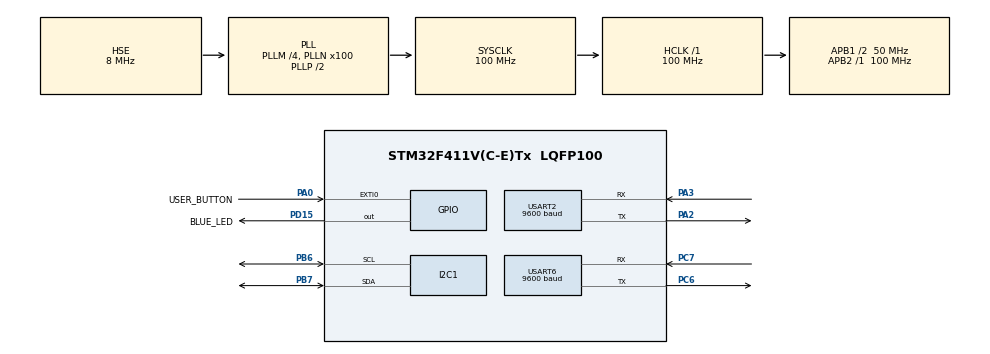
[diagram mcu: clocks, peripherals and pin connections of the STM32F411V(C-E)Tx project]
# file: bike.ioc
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Mcu.Family=STM32F4
Mcu.Name=STM32F411V(C-E)Tx
Mcu.Package=LQFP100
NVIC.EXTI0_IRQn=true\:2\:0\:true\:false\:true\:true\:true
NVIC.I2C1_ER_IRQn=true\:0\:0\:false\:false\:true\:true\:true
NVIC.I2C1_EV_IRQn=true\:0\:0\:false\:false\:true\:true\:true
NVIC.PriorityGroup=NVIC_PRIORITYGROUP_4
NVIC.TIM1_TRG_COM_TIM11_IRQn=true\:1\:0\:true\:false\:true\:true\:true
NVIC.TIM1_UP_TIM10_IRQn=true\:3\:0\:true\:false\:true\:true\:true
NVIC.USART2_IRQn=true\:2\:0\:true\:false\:true\:true\:true
NVIC.USART6_IRQn=true\:1\:0\:true\:false\:true\:true\:true
PA0-WKUP.GPIO_Label=USER_BUTTON
PA0-WKUP.GPIO_ModeDefaultEXTI=GPIO_MODE_IT_RISING
PA0-WKUP.Signal=GPXTI0
PA2.Mode=Asynchronous
PA2.Signal=USART2_TX
PA3.Mode=Asynchronous
PA3.Signal=USART2_RX
PB6.Mode=I2C
PB6.Signal=I2C1_SCL
PB7.Mode=I2C
PB7.Signal=I2C1_SDA
PC6.Mode=Asynchronous
PC6.Signal=USART6_TX
PC7.Mode=Asynchronous
PC7.Signal=USART6_RX
PD15.GPIO_Label=BLUE_LED
PD15.PinState=GPIO_PIN_SET
PD15.Signal=GPIO_Output
PH0\ -\ OSC_IN.Mode=HSE-External-Oscillator
PH0\ -\ OSC_IN.Signal=RCC_OSC_IN
PH1\ -\ OSC_OUT.Mode=HSE-External-Oscillator
PH1\ -\ OSC_OUT.Signal=RCC_OSC_OUT
ProjectManager.HeapSize=0x200
ProjectManager.StackSize=0x400
ProjectManager.TargetToolchain=SW4STM32
RCC.48MHZClocksFreq_Value=50000000
RCC.AHBFreq_Value=100000000
RCC.APB1CLKDivider=RCC_HCLK_DIV2
RCC.APB1Freq_Value=50000000
RCC.APB1TimFreq_Value=100000000
RCC.APB2Freq_Value=100000000
RCC.APB2TimFreq_Value=100000000
RCC.CortexFreq_Value=100000000
RCC.HCLKFreq_Value=100000000
RCC.HSE_VALUE=8000000
RCC.HSI_VALUE=16000000
RCC.LSE_VALUE=32768
RCC.PLLM=4
RCC.PLLN=100
RCC.PLLSourceVirtual=RCC_PLLSOURCE_HSE
RCC.SYSCLKFreq_VALUE=100000000
RCC.SYSCLKSource=RCC_SYSCLKSOURCE_PLLCLK
RCC.VCOOutputFreq_Value=200000000
TIM10.Period=4999
TIM10.Prescaler=9999
TIM11.Period=6000
TIM11.Prescaler=9999
USART2.BaudRate=9600
USART2.VirtualMode=VM_ASYNC
USART6.BaudRate=9600
USART6.VirtualMode=VM_ASYNC
VP_RTC_VS_RTC_Activate.Mode=RTC_Enabled
VP_TIM10_VS_ClockSourceINT.Mode=Enable_Timer
VP_TIM11_VS_ClockSourceINT.Mode=Enable_Timer
board=custom

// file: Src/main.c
/* USER CODE BEGIN Header */
/**
 ******************************************************************************
 * @file           : main.c
 * @brief          : Main program body
 ******************************************************************************
 * @attention
 *
 * <h2><center>&copy; Copyright (c) 2020 STMicroelectronics.
 * All rights reserved.</center></h2>
 *
 * This software component is licensed by ST under BSD 3-Clause license,
 * the "License"; You may not use this file except in compliance with the
 * License. You may obtain a copy of the License at:
 *                        opensource.org/licenses/BSD-3-Clause
 *
 ******************************************************************************
 */

#define d2r (M_PI / 180.0)
/* USER CODE END Header */

#include "main.h"

/* USER CODE BEGIN Includes */
#include "DEV_Config.h"
#include "L76X.h"
#include "bme280.h"

/* USER CODE END Includes */

/* USER CODE BEGIN PTD */
//When USEIIC is 1 use I2C interface, When it is 0,use SPI interface
/* USER CODE END PTD */

I2C_HandleTypeDef hi2c1;

RTC_HandleTypeDef hrtc;

TIM_HandleTypeDef htim10;
TIM_HandleTypeDef htim11;

UART_HandleTypeDef huart2;
UART_HandleTypeDef huart6;

/* USER CODE BEGIN PV */
uint8_t cnt = 0;
double temperature = 0.0;
double distance = 0.0;
double presure = 0.0;
double humidity = 0.0;
double longitude = 0.0;
double latitude = 0.0;
double current_speed = 0.0;
double avg_speed = 0.0;
double total_distance = 0.0;
uint8_t rx_buffer[10];
uint8_t Data[40];
static RTC_TimeTypeDef time;
static RTC_DateTypeDef date;

/* USER CODE END PV */

void SystemClock_Config(void);
static void MX_GPIO_Init(void);
static void MX_USART2_UART_Init(void);
static void MX_I2C1_Init(void);
static void MX_RTC_Init(void);
static void MX_TIM10_Init(void);
static void MX_USART6_UART_Init(void);
static void MX_TIM11_Init(void);
/* USER CODE BEGIN PFP */
GNRMC GPS;
BME280_ReadedData_t BME280_Data;
/* USER CODE END PFP */

/* USER CODE BEGIN 0 */

double calculate_distance(double lat1, double long1, double lat2, double long2) {
	double dlong = (long2 - long1) * d2r;
	double dlat = (lat2 - lat1) * d2r;
	double a = pow(sin(dlat / 2.0), 2)
			+ cos(lat1 * d2r) * cos(lat2 * d2r) * pow(sin(dlong / 2.0), 2);
	double c = 2 * atan2(sqrt(a), sqrt(1 - a));
	double d = 6367 * c;

	return d;
}

void HAL_GPIO_EXTI_Callback(uint16_t GPIO_Pin){
	if(GPIO_Pin == USER_BUTTON_Pin){
		total_distance = 0;
		distance = 0;
		avg_speed = 0;
		cnt = 0;
		longitude = GPS.Lon;
		latitude = GPS.Lat;
		time.Hours = 0;
		time.Minutes = 0;
		time.Seconds = 0;
		HAL_RTC_SetDate(&hrtc, &date,RTC_FORMAT_BIN);
		HAL_RTC_SetTime(&hrtc,&time,RTC_FORMAT_BIN);
	}
}

void HAL_TIM_PeriodElapsedCallback(TIM_HandleTypeDef *htim) {
	if(htim->Instance == TIM10){
		GPS = L76X_Gat_GNRMC();

		distance = calculate_distance(latitude, longitude, GPS.Lat, GPS.Lon);
		if(distance < 0.01){
			distance = 0.0;
		}
		if (distance > 20) {
			distance = 0;
		}
		current_speed = (distance) * 3.6; // speed in km/s
		total_distance = total_distance + distance;

		longitude = GPS.Lon;
		latitude = GPS.Lat;

		temperature = BME280_ReadTemperature();
		presure = (BME280_ReadPressure()/1000);
		humidity = BME280_ReadHumidity();

		HAL_RTC_GetTime(&hrtc, &time, RTC_FORMAT_BIN);
		HAL_RTC_GetDate(&hrtc, &date, RTC_FORMAT_BIN);
		double total_time = (time.Hours * 3600) + (time.Minutes * 60)
				+ time.Seconds;
		avg_speed = (total_distance / total_time) * 3.6;
		if(avg_speed < 0.2){
			avg_speed = 0;
		}
	}

	if(htim->Instance == TIM11){
		uint8_t data[50] = "";
		uint16_t size = 0;
		switch (cnt) {
			case 0: {
				size = sprintf(data, "Temperature: %.2f\n\r", temperature);
				break;
			}
			case 1: {
				size = sprintf(data, "Pressure: %.2f\n\r", presure);
				break;
			}
			case 2: {
				size = sprintf(data, "Humidity: %.2f\n\r", humidity);
				break;
			}
			case 3: {
				size = sprintf(data, "Speed: %.2f\n\r", current_speed);
				break;
			}
			case 4: {
				size = sprintf(data, "AvgSpeed: %.2f\n\r", avg_speed);
				break;
			}
			case 5: {
				size = sprintf(data, "Distance: %.2f\n\r", total_distance);
				break;
			}
		}

		HAL_UART_Transmit_IT(&huart6, data, size);
		++cnt;
		if (cnt > 5) {
			cnt = 0;
		}

		HAL_GPIO_TogglePin(BLUE_LED_GPIO_Port, BLUE_LED_Pin);
	}
}

/* USER CODE END 0 */

int main(void)
{

  /* MCU Configuration--------------------------------------------------------*/

  /* Reset of all peripherals, Initializes the Flash interface and the Systick. */
  HAL_Init();

  /* Configure the system clock */
  SystemClock_Config();

  /* Initialize all configured peripherals */
  MX_GPIO_Init();
  MX_USART2_UART_Init();
  MX_I2C1_Init();
  MX_RTC_Init();
  MX_TIM10_Init();
  MX_USART6_UART_Init();
  MX_TIM11_Init();
  /* USER CODE BEGIN 2 */
	MX_GPIO_Init();
	//MX_USART1_UART_Init();
	HAL_TIM_Base_Start_IT(&htim10);
	HAL_TIM_Base_Start_IT(&htim11);
	MX_USART2_UART_Init();
	/* USER CODE BEGIN 2 */

	DEV_Uart_SendByte('1');
	DEV_Delay_ms(100);
	DEV_Set_Baudrate(9600);
	DEV_Delay_ms(100);

	L76X_Send_Command(SET_NMEA_BAUDRATE_115200);
	DEV_Delay_ms(100);

	DEV_Delay_ms(100);
	DEV_Set_Baudrate(115200);
	DEV_Delay_ms(100);

	L76X_Send_Command(SET_NORMAL_MODE);
	L76X_Send_Command(SET_POS_FIX_400MS);

	L76X_Exit_BackupMode();

	BME280_Initial(BME280_STANDBY_MS_0_5, BME280_FILTER_X4,
			BME280_TEMP_OVERSAMPLING_X4, BME280_PRES_OVERSAMPLING_X2,
			BME280_HUM_OVERSAMPLING_X1, BME280_MODE_NORMAL);
	GPS = L76X_Gat_GNRMC();
	longitude = GPS.Lon;
	latitude = GPS.Lat;

  /* USER CODE END 2 */

  /* Infinite loop */
	while (1) {

	}
}

void SystemClock_Config(void)
{
  RCC_OscInitTypeDef RCC_OscInitStruct = {0};
  RCC_ClkInitTypeDef RCC_ClkInitStruct = {0};
  RCC_PeriphCLKInitTypeDef PeriphClkInitStruct = {0};

  /** Configure the main internal regulator output voltage
  */
  __HAL_RCC_PWR_CLK_ENABLE();
  __HAL_PWR_VOLTAGESCALING_CONFIG(PWR_REGULATOR_VOLTAGE_SCALE1);
  /** Initializes the CPU, AHB and APB busses clocks
  */
  RCC_OscInitStruct.OscillatorType = RCC_OSCILLATORTYPE_LSI|RCC_OSCILLATORTYPE_HSE;
  RCC_OscInitStruct.HSEState = RCC_HSE_ON;
  RCC_OscInitStruct.LSIState = RCC_LSI_ON;
  RCC_OscInitStruct.PLL.PLLState = RCC_PLL_ON;
  RCC_OscInitStruct.PLL.PLLSource = RCC_PLLSOURCE_HSE;
  RCC_OscInitStruct.PLL.PLLM = 4;
  RCC_OscInitStruct.PLL.PLLN = 100;
  RCC_OscInitStruct.PLL.PLLP = RCC_PLLP_DIV2;
  RCC_OscInitStruct.PLL.PLLQ = 4;
  if (HAL_RCC_OscConfig(&RCC_OscInitStruct) != HAL_OK)
  {
    Error_Handler();
  }
  /** Initializes the CPU, AHB and APB busses clocks
  */
  RCC_ClkInitStruct.ClockType = RCC_CLOCKTYPE_HCLK|RCC_CLOCKTYPE_SYSCLK
                              |RCC_CLOCKTYPE_PCLK1|RCC_CLOCKTYPE_PCLK2;
  RCC_ClkInitStruct.SYSCLKSource = RCC_SYSCLKSOURCE_PLLCLK;
  RCC_ClkInitStruct.AHBCLKDivider = RCC_SYSCLK_DIV1;
  RCC_ClkInitStruct.APB1CLKDivider = RCC_HCLK_DIV2;
  RCC_ClkInitStruct.APB2CLKDivider = RCC_HCLK_DIV1;

  if (HAL_RCC_ClockConfig(&RCC_ClkInitStruct, FLASH_LATENCY_3) != HAL_OK)
  {
    Error_Handler();
  }
  PeriphClkInitStruct.PeriphClockSelection = RCC_PERIPHCLK_RTC;
  PeriphClkInitStruct.RTCClockSelection = RCC_RTCCLKSOURCE_LSI;
  if (HAL_RCCEx_PeriphCLKConfig(&PeriphClkInitStruct) != HAL_OK)
  {
    Error_Handler();
  }
}

static void MX_I2C1_Init(void)
{

  hi2c1.Instance = I2C1;
  hi2c1.Init.ClockSpeed = 100000;
  hi2c1.Init.DutyCycle = I2C_DUTYCYCLE_2;
  hi2c1.Init.OwnAddress1 = 0;
  hi2c1.Init.AddressingMode = I2C_ADDRESSINGMODE_7BIT;
  hi2c1.Init.DualAddressMode = I2C_DUALADDRESS_DISABLE;
  hi2c1.Init.OwnAddress2 = 0;
  hi2c1.Init.GeneralCallMode = I2C_GENERALCALL_DISABLE;
  hi2c1.Init.NoStretchMode = I2C_NOSTRETCH_DISABLE;
  if (HAL_I2C_Init(&hi2c1) != HAL_OK)
  {
    Error_Handler();
  }

}

static void MX_RTC_Init(void)
{

  /** Initialize RTC Only
  */
  hrtc.Instance = RTC;
  hrtc.Init.HourFormat = RTC_HOURFORMAT_24;
  hrtc.Init.AsynchPrediv = 127;
  hrtc.Init.SynchPrediv = 255;
  hrtc.Init.OutPut = RTC_OUTPUT_DISABLE;
  hrtc.Init.OutPutPolarity = RTC_OUTPUT_POLARITY_HIGH;
  hrtc.Init.OutPutType = RTC_OUTPUT_TYPE_OPENDRAIN;
  if (HAL_RTC_Init(&hrtc) != HAL_OK)
  {
    Error_Handler();
  }

}

static void MX_TIM10_Init(void)
{

  htim10.Instance = TIM10;
  htim10.Init.Prescaler = 9999;
  htim10.Init.CounterMode = TIM_COUNTERMODE_UP;
  htim10.Init.Period = 4999;
  htim10.Init.ClockDivision = TIM_CLOCKDIVISION_DIV1;
  htim10.Init.AutoReloadPreload = TIM_AUTORELOAD_PRELOAD_DISABLE;
  if (HAL_TIM_Base_Init(&htim10) != HAL_OK)
  {
    Error_Handler();
  }

}

static void MX_TIM11_Init(void)
{

  htim11.Instance = TIM11;
  htim11.Init.Prescaler = 9999;
  htim11.Init.CounterMode = TIM_COUNTERMODE_UP;
  htim11.Init.Period = 6000;
  htim11.Init.ClockDivision = TIM_CLOCKDIVISION_DIV1;
  htim11.Init.AutoReloadPreload = TIM_AUTORELOAD_PRELOAD_DISABLE;
  if (HAL_TIM_Base_Init(&htim11) != HAL_OK)
  {
    Error_Handler();
  }

}

static void MX_USART2_UART_Init(void)
{

  huart2.Instance = USART2;
  huart2.Init.BaudRate = 9600;
  huart2.Init.WordLength = UART_WORDLENGTH_8B;
  huart2.Init.StopBits = UART_STOPBITS_1;
  huart2.Init.Parity = UART_PARITY_NONE;
  huart2.Init.Mode = UART_MODE_TX_RX;
  huart2.Init.HwFlowCtl = UART_HWCONTROL_NONE;
  huart2.Init.OverSampling = UART_OVERSAMPLING_16;
  if (HAL_UART_Init(&huart2) != HAL_OK)
  {
    Error_Handler();
  }

}

static void MX_USART6_UART_Init(void)
{

  huart6.Instance = USART6;
  huart6.Init.BaudRate = 9600;
  huart6.Init.WordLength = UART_WORDLENGTH_8B;
  huart6.Init.StopBits = UART_STOPBITS_1;
  huart6.Init.Parity = UART_PARITY_NONE;
  huart6.Init.Mode = UART_MODE_TX_RX;
  huart6.Init.HwFlowCtl = UART_HWCONTROL_NONE;
  huart6.Init.OverSampling = UART_OVERSAMPLING_16;
  if (HAL_UART_Init(&huart6) != HAL_OK)
  {
    Error_Handler();
  }

}

static void MX_GPIO_Init(void)
{
  GPIO_InitTypeDef GPIO_InitStruct = {0};

  /* GPIO Ports Clock Enable */
  __HAL_RCC_GPIOH_CLK_ENABLE();
  __HAL_RCC_GPIOA_CLK_ENABLE();
  __HAL_RCC_GPIOD_CLK_ENABLE();
  __HAL_RCC_GPIOC_CLK_ENABLE();
  __HAL_RCC_GPIOB_CLK_ENABLE();

  /*Configure GPIO pin Output Level */
  HAL_GPIO_WritePin(BLUE_LED_GPIO_Port, BLUE_LED_Pin, GPIO_PIN_SET);

  /*Configure GPIO pin : USER_BUTTON_Pin */
  GPIO_InitStruct.Pin = USER_BUTTON_Pin;
  GPIO_InitStruct.Mode = GPIO_MODE_IT_RISING;
  GPIO_InitStruct.Pull = GPIO_NOPULL;
  HAL_GPIO_Init(USER_BUTTON_GPIO_Port, &GPIO_InitStruct);

  /*Configure GPIO pin : BLUE_LED_Pin */
  GPIO_InitStruct.Pin = BLUE_LED_Pin;
  GPIO_InitStruct.Mode = GPIO_MODE_OUTPUT_PP;
  GPIO_InitStruct.Pull = GPIO_NOPULL;
  GPIO_InitStruct.Speed = GPIO_SPEED_FREQ_LOW;
  HAL_GPIO_Init(BLUE_LED_GPIO_Port, &GPIO_InitStruct);

  /* EXTI interrupt init*/
  HAL_NVIC_SetPriority(EXTI0_IRQn, 2, 0);
  HAL_NVIC_EnableIRQ(EXTI0_IRQn);

}

void Error_Handler(void)
{
}

/************************ (C) COPYRIGHT STMicroelectronics *****END OF FILE****/
